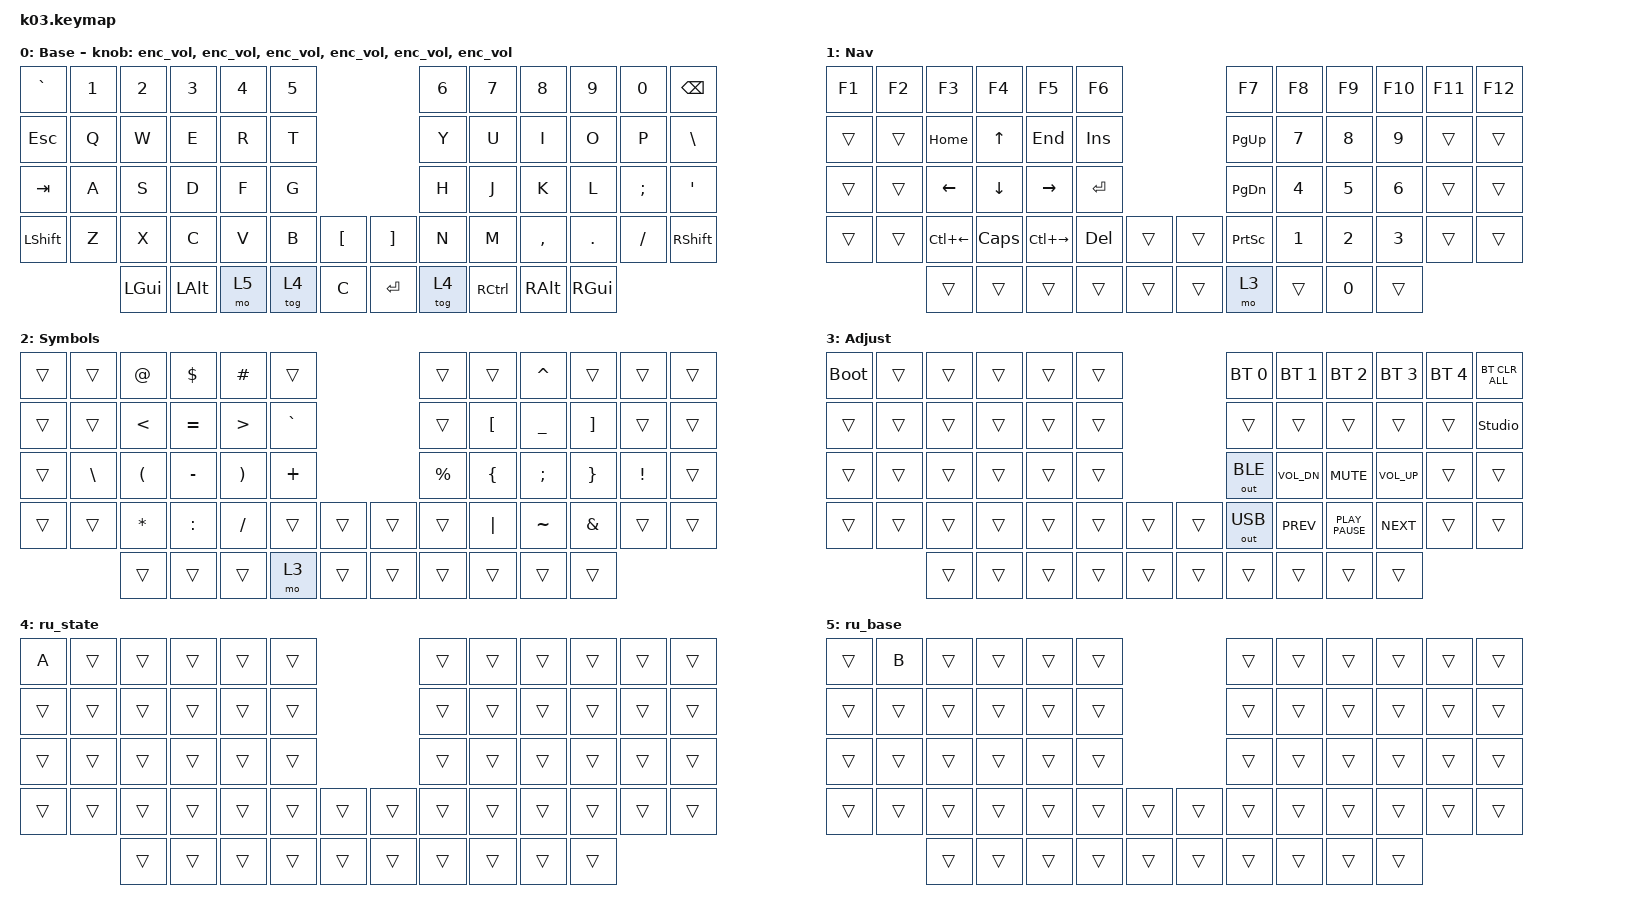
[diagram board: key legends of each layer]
#include "keys_ru.h"
#include <behaviors.dtsi>
#include <dt-bindings/zmk/bt.h>
#include <dt-bindings/zmk/keys.h>
#include <dt-bindings/zmk/outputs.h>

/ {
    behaviors {
        enc_vol: enc_vol {
            compatible = "zmk,behavior-sensor-rotate";
            label = "ENC_VOL";
            #sensor-binding-cells = <0>;
            bindings = <&kp C_VOL_UP>, <&kp C_VOL_DN>;
        };
    };

    keymap {
        compatible = "zmk,keymap";

        base {
            bindings = <
&kp GRAVE  &kp N1  &kp N2    &kp N3    &kp N4  &kp N5                         &kp N6  &kp N7     &kp N8     &kp N9    &kp N0    &kp BSPC
&kp ESC    &kp Q   &kp W     &kp E     &kp R   &kp T                          &kp Y   &kp U      &kp I      &kp O     &kp P     &kp BSLH
&kp TAB    &kp A   &kp S     &kp D     &kp F   &kp G                          &kp H   &kp J      &kp K      &kp L     &kp SEMI  &kp SQT
&kp LSHFT  &kp Z   &kp X     &kp C     &kp V   &kp B   &kp LBKT    &kp RBKT   &kp N   &kp M      &kp COMMA  &kp DOT   &kp FSLH  &kp RSHFT
                   &kp LGUI  &kp LALT  &mo 5   &tog 4  &kp C       &kp ENTER  &tog 4  &kp RCTRL  &kp RALT   &kp RGUI
            >;

            display-name = "Base";
            sensor-bindings =
                <&enc_vol>,
                <&enc_vol>,
                <&enc_vol>,
                <&enc_vol>,
                <&enc_vol>,
                <&enc_vol>;
        };

        nav {
            bindings = <
&kp F1  &kp F2  &kp F3        &kp F4    &kp F5         &kp F6                     &kp F7           &kp F8  &kp F9  &kp F10  &kp F11  &kp F12
&trans  &trans  &kp HOME      &kp UP    &kp END        &kp INS                    &kp PG_UP        &kp N7  &kp N8  &kp N9   &trans   &trans
&trans  &trans  &kp LEFT      &kp DOWN  &kp RIGHT      &kp RET                    &kp PG_DN        &kp N4  &kp N5  &kp N6   &trans   &trans
&trans  &trans  &kp LC(LEFT)  &kp CAPS  &kp LC(RIGHT)  &kp DEL  &trans    &trans  &kp PRINTSCREEN  &kp N1  &kp N2  &kp N3   &trans   &trans
                &trans        &trans    &trans         &trans   &trans    &trans  &mo 3            &trans  &kp N0  &trans
            >;

            display-name = "Nav";
        };

        sym {
            bindings = <
&trans  &trans    &kp AT    &kp DLLR   &kp HASH  &trans                       &trans     &trans    &kp CARET  &trans    &trans    &trans
&trans  &trans    &kp LT    &kp EQUAL  &kp GT    &kp GRAVE                    &trans     &kp LBKT  &kp UNDER  &kp RBKT  &trans    &trans
&trans  &kp BSLH  &kp LPAR  &kp MINUS  &kp RPAR  &kp PLUS                     &kp PRCNT  &kp LBRC  &kp SEMI   &kp RBRC  &kp EXCL  &trans
&trans  &trans    &kp STAR  &kp COLON  &kp FSLH  &trans     &trans    &trans  &trans     &kp PIPE  &kp TILDE  &kp AMPS  &trans    &trans
                  &trans    &trans     &trans    &mo 3      &trans    &trans  &trans     &trans    &trans     &trans
            >;

            display-name = "Symbols";
        };

        adj {
            bindings = <
&bootloader  &trans  &trans  &trans  &trans  &trans                    &bt BT_SEL 0  &bt BT_SEL 1  &bt BT_SEL 2      &bt BT_SEL 3  &bt BT_SEL 4  &bt BT_CLR_ALL
&trans       &trans  &trans  &trans  &trans  &trans                    &trans        &trans        &trans            &trans        &trans        &studio_unlock
&trans       &trans  &trans  &trans  &trans  &trans                    &out OUT_BLE  &kp C_VOL_DN  &kp K_MUTE        &kp C_VOL_UP  &trans        &trans
&trans       &trans  &trans  &trans  &trans  &trans  &trans    &trans  &out OUT_USB  &kp K_PREV    &kp K_PLAY_PAUSE  &kp K_NEXT    &trans        &trans
                     &trans  &trans  &trans  &trans  &trans    &trans  &trans        &trans        &trans            &trans
            >;

            display-name = "Adjust";
        };

        ru_state {
            bindings = <
&kp A   &trans  &trans  &trans  &trans  &trans                    &trans  &trans  &trans  &trans  &trans  &trans
&trans  &trans  &trans  &trans  &trans  &trans                    &trans  &trans  &trans  &trans  &trans  &trans
&trans  &trans  &trans  &trans  &trans  &trans                    &trans  &trans  &trans  &trans  &trans  &trans
&trans  &trans  &trans  &trans  &trans  &trans  &trans    &trans  &trans  &trans  &trans  &trans  &trans  &trans
                &trans  &trans  &trans  &trans  &trans    &trans  &trans  &trans  &trans  &trans
            >;
        };

        ru_base {
            bindings = <
&trans  &kp B   &trans  &trans  &trans  &trans                    &trans  &trans  &trans  &trans  &trans  &trans
&trans  &trans  &trans  &trans  &trans  &trans                    &trans  &trans  &trans  &trans  &trans  &trans
&trans  &trans  &trans  &trans  &trans  &trans                    &trans  &trans  &trans  &trans  &trans  &trans
&trans  &trans  &trans  &trans  &trans  &trans  &trans    &trans  &trans  &trans  &trans  &trans  &trans  &trans
                &trans  &trans  &trans  &trans  &trans    &trans  &trans  &trans  &trans  &trans
            >;
        };
    };

    conditional_layers {
        compatible = "zmk,conditional-layers";

        ru_base {
            if-layers = <4>;
            then-layer = <5>;
        };
    };
};
